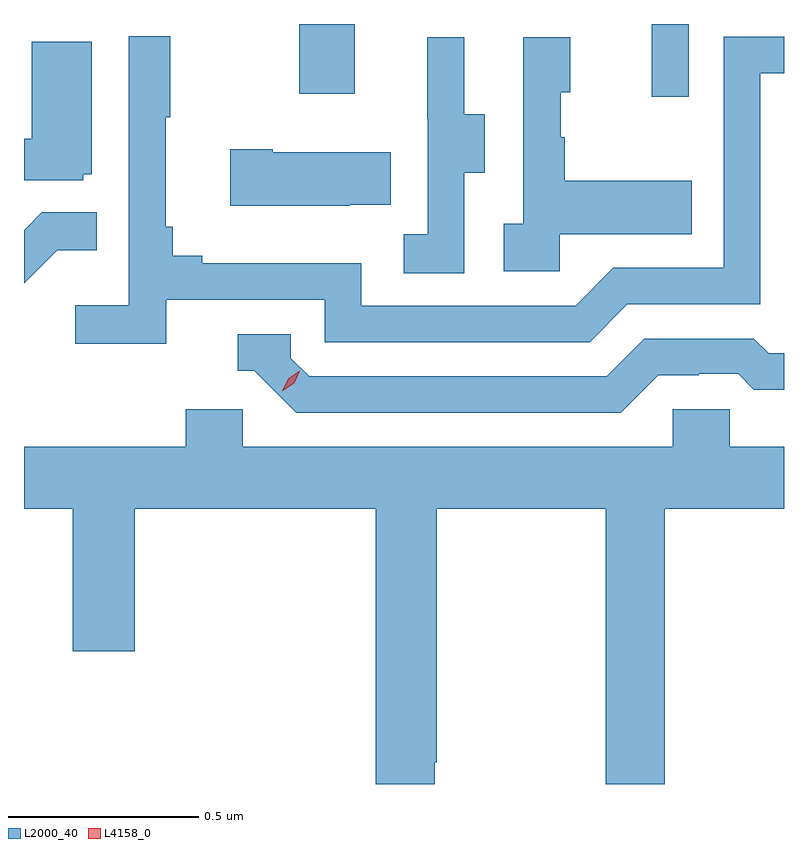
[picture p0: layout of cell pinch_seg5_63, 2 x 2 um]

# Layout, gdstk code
import gdstk
lib = gdstk.Library(unit=1e-6, precision=1e-09)
def R(c, l, rs):  # rectangles x0, y0, x1, y1
    for r in rs: c.add(gdstk.rectangle(r[:2], r[2:], *l))
def P(c, l, *ps):  # polygons
    for p in ps: c.add(gdstk.Polygon(p, *l))
L2000_40 = (2000, 40)
L4158_0 = (4158, 0)

pinch_seg5_63 = lib.new_cell('pinch_seg5_63')
R(pinch_seg5_63, L2000_40, [(1065.632,907.128,1065.729,907.32), (1064.704,907.137,1064.851,907.32)])
P(pinch_seg5_63, L2000_40, [(1064.354,906.594),(1064.772,906.594),(1064.772,906.483),(1065.469,906.483),(1065.568,906.582),(1065.918,906.582),(1065.918,907.191),(1065.98,907.191),(1065.98,907.287),(1065.822,907.287),(1065.822,906.678),(1065.531,906.678),(1065.432,906.579),(1064.868,906.579),(1064.868,906.691),(1064.449,906.691),(1064.449,906.71),(1064.372,906.71),(1064.372,906.787),(1064.353,906.787),(1064.353,907.075),(1064.365,907.075),(1064.365,907.288),(1064.256,907.288),(1064.256,906.58),(1064.115,906.58),(1064.115,906.478),(1064.354,906.478)],
  [(1065.138,906.928),(1065.193,906.928),(1065.193,907.083),(1065.139,907.083),(1065.139,907.285),(1065.041,907.285),(1065.041,907.071),(1065.042,907.071),(1065.042,906.767),(1064.979,906.767),(1064.979,906.664),(1065.138,906.664)],
  [(1065.39,906.767),(1065.737,906.767),(1065.737,906.907),(1065.403,906.907),(1065.403,907.022),(1065.393,907.022),(1065.393,907.14),(1065.418,907.14),(1065.418,907.285),(1065.294,907.285),(1065.294,906.794),(1065.243,906.794),(1065.243,906.669),(1065.39,906.669)],
  [(1064.136,906.924),(1064.158,906.924),(1064.158,907.273),(1064,907.273),(1064,907.018),(1063.98,907.018),(1063.98,906.909),(1064.136,906.909)],
  [(1064.837,906.845),(1064.945,906.845),(1064.945,906.982),(1064.635,906.982),(1064.635,906.99),(1064.523,906.99),(1064.523,906.842),(1064.837,906.842)],
  [(1064.067,906.725),(1064.171,906.725),(1064.171,906.824),(1064.027,906.824),(1063.98,906.777),(1063.98,906.638)],
  [(1065.649,906.396),(1065.756,906.396),(1065.756,906.399),(1065.859,906.399),(1065.901,906.357),(1065.98,906.357),(1065.98,906.453),(1065.94,906.453),(1065.901,906.492),(1065.612,906.492),(1065.513,906.393),(1064.73,906.393),(1064.682,906.441),(1064.682,906.504),(1064.543,906.504),(1064.543,906.408),(1064.586,906.408),(1064.697,906.297),(1065.55,906.297)],
  [(1065.687,906.306),(1065.687,906.208),(1064.556,906.208),(1064.556,906.306),(1064.405,906.306),(1064.405,906.208),(1063.98,906.208),(1063.98,906.044),(1064.108,906.044),(1064.108,905.67),(1064.272,905.67),(1064.272,906.044),(1064.906,906.044),(1064.906,905.32),(1065.061,905.32),(1065.061,905.377),(1065.066,905.377),(1065.066,906.044),(1065.511,906.044),(1065.511,905.32),(1065.666,905.32),(1065.666,906.044),(1065.98,906.044),(1065.98,906.208),(1065.837,906.208),(1065.837,906.306)])
P(pinch_seg5_63, L4158_0, [(1064.66,906.353),(1064.66,906.354),(1064.675,906.387),(1064.706,906.407),(1064.706,906.407),(1064.706,906.407),(1064.691,906.374),(1064.66,906.353)])

lib.write_gds('pinch_seg5_63.gds')
